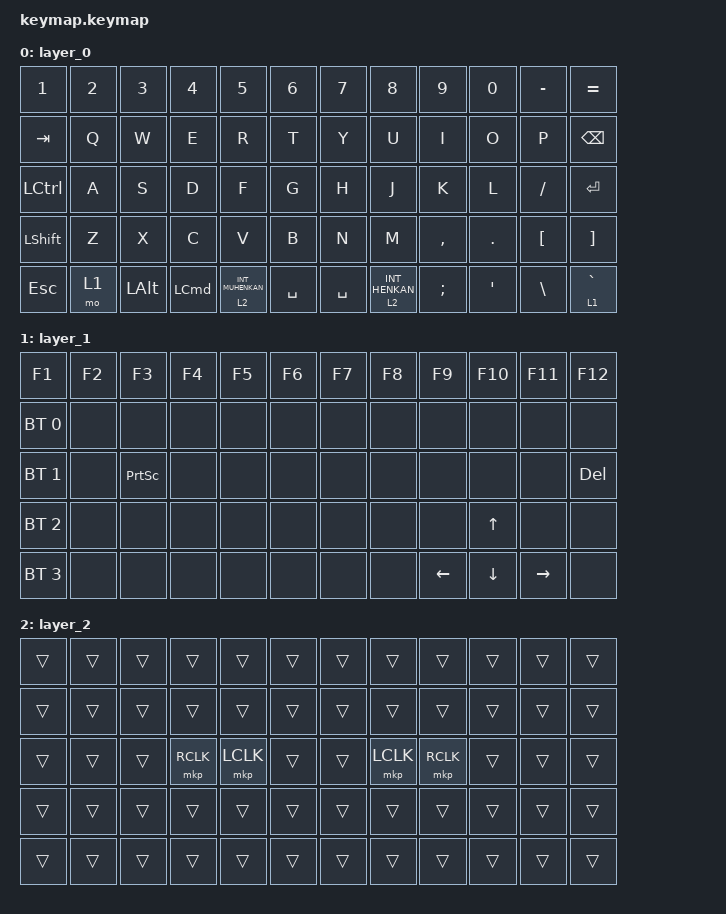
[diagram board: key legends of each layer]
#include <behaviors.dtsi>
#include <dt-bindings/zmk/bt.h>
#include <dt-bindings/zmk/keys.h>
#include <dt-bindings/zmk/pointing.h>

/ {
    keymap {
        compatible = "zmk,keymap";

        layer_0 {
            bindings = <
&kp NUMBER_1      &kp NUMBER_2  &kp NUMBER_3  &kp NUMBER_4      &kp NUMBER_5        &kp NUMBER_6  &kp NUMBER_7  &kp NUMBER_8      &kp NUMBER_9   &kp NUMBER_0  &kp MINUS         &kp EQUAL
&kp TAB           &kp Q         &kp W         &kp E             &kp R               &kp T         &kp Y         &kp U             &kp I          &kp O         &kp P             &kp BACKSPACE
&kp LEFT_CONTROL  &kp A         &kp S         &kp D             &kp F               &kp G         &kp H         &kp J             &kp K          &kp L         &kp SLASH         &kp ENTER
&kp LSHIFT        &kp Z         &kp X         &kp C             &kp V               &kp B         &kp N         &kp M             &kp COMMA      &kp PERIOD    &kp LEFT_BRACKET  &kp RIGHT_BRACKET
&kp ESCAPE        &mo 1         &kp LEFT_ALT  &kp LEFT_COMMAND  &lt 2 INT_MUHENKAN  &kp SPACE     &kp SPACE     &lt 2 INT_HENKAN  &kp SEMICOLON  &kp SQT       &kp BACKSLASH     &lt 1 GRAVE
            >;
        };

        layer_1 {
            bindings = <
&kp F1        &kp F2  &kp F3           &kp F4  &kp F5  &kp F6  &kp F7  &kp F8  &kp F9          &kp F10         &kp F11          &kp F12
&bt BT_SEL 0  &none   &none            &none   &none   &none   &none   &none   &none           &none           &none            &none
&bt BT_SEL 1  &none   &kp PRINTSCREEN  &none   &none   &none   &none   &none   &none           &none           &none            &kp DELETE
&bt BT_SEL 2  &none   &none            &none   &none   &none   &none   &none   &none           &kp UP_ARROW    &none            &none
&bt BT_SEL 3  &none   &none            &none   &none   &none   &none   &none   &kp LEFT_ARROW  &kp DOWN_ARROW  &kp RIGHT_ARROW  &none
            >;
        };

        layer_2 {
            bindings = <
&trans  &trans  &trans  &trans     &trans     &trans  &trans  &trans     &trans     &trans  &trans  &trans
&trans  &trans  &trans  &trans     &trans     &trans  &trans  &trans     &trans     &trans  &trans  &trans
&trans  &trans  &trans  &mkp RCLK  &mkp LCLK  &trans  &trans  &mkp LCLK  &mkp RCLK  &trans  &trans  &trans
&trans  &trans  &trans  &trans     &trans     &trans  &trans  &trans     &trans     &trans  &trans  &trans
&trans  &trans  &trans  &trans     &trans     &trans  &trans  &trans     &trans     &trans  &trans  &trans
            >;
        };
    };
};
